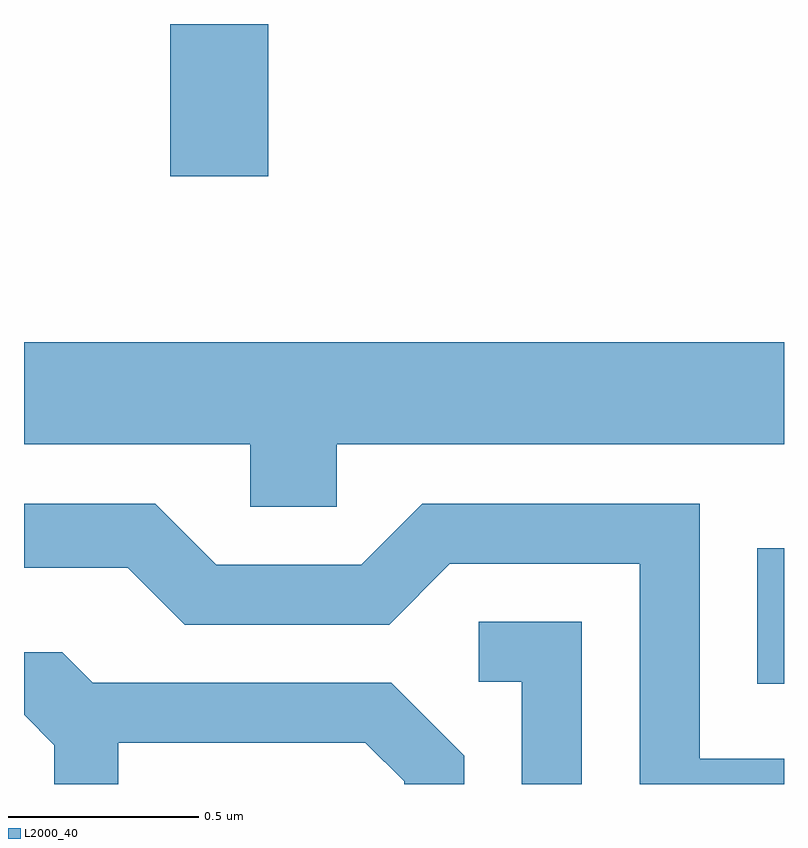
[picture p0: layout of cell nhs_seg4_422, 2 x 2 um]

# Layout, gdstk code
import gdstk
lib = gdstk.Library(unit=1e-6, precision=1e-09)
def R(c, l, rs):  # rectangles x0, y0, x1, y1
    for r in rs: c.add(gdstk.rectangle(r[:2], r[2:], *l))
def P(c, l, *ps):  # polygons
    for p in ps: c.add(gdstk.Polygon(p, *l))
L2000_40 = (2000, 40)

nhs_seg4_422 = lib.new_cell('nhs_seg4_422')
R(nhs_seg4_422, L2000_40, [(190.541,1265.246,190.611,1265.603), (188.996,1266.581,189.254,1266.982)])
P(nhs_seg4_422, L2000_40, [(189.434,1265.876),(190.611,1265.876),(190.611,1266.144),(188.611,1266.144),(188.611,1265.876),(189.206,1265.876),(189.206,1265.711),(189.434,1265.711)],
  [(190.611,1265.049),(190.389,1265.049),(190.389,1265.719),(189.659,1265.719),(189.499,1265.559),(189.117,1265.559),(188.957,1265.719),(188.611,1265.719),(188.611,1265.551),(188.884,1265.551),(189.034,1265.401),(189.572,1265.401),(189.732,1265.561),(190.231,1265.561),(190.231,1264.982),(190.611,1264.982)],
  [(190.079,1265.409),(189.808,1265.409),(189.808,1265.251),(189.921,1265.251),(189.921,1264.982),(190.079,1264.982)],
  [(188.859,1265.091),(189.509,1265.091),(189.611,1264.989),(189.611,1264.982),(189.769,1264.982),(189.769,1265.057),(189.577,1265.249),(188.792,1265.249),(188.712,1265.329),(188.611,1265.329),(188.611,1265.164),(188.691,1265.084),(188.691,1264.982),(188.859,1264.982)])

lib.write_gds('nhs_seg4_422.gds')
